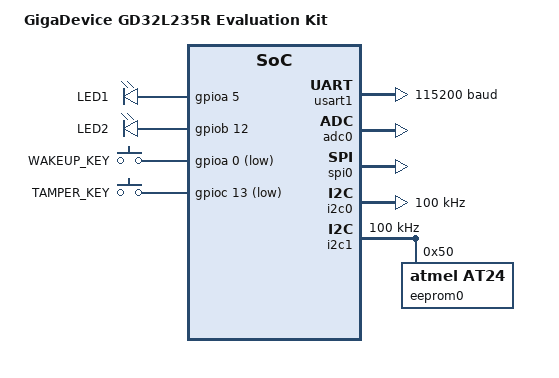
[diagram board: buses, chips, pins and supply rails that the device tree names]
/*
 * SPDX-FileCopyrightText: Copyright The Zephyr Project Contributors
 * SPDX-License-Identifier: Apache-2.0
 */

/dts-v1/;

#include <gd/gd32l23x/gd32l235rb.dtsi>
#include "gd32l235r_eval-pinctrl.dtsi"
#include <zephyr/dt-bindings/input/input-event-codes.h>

/ {
	model = "GigaDevice GD32L235R Evaluation Kit";
	compatible = "gd,gd32l235r-eval";

	chosen {
		zephyr,sram = &sram;
		zephyr,flash = &flash0;
		zephyr,console = &usart1;
		zephyr,shell-uart = &usart1;
		zephyr,flash-controller = &fmc;
	};

	leds {
		compatible = "gpio-leds";

		led1: led1 {
			gpios = <&gpioa 5 GPIO_ACTIVE_HIGH>;
			label = "LED1";
		};

		led2: led2 {
			gpios = <&gpiob 12 GPIO_ACTIVE_HIGH>;
			label = "LED2";
		};
	};

	gpio_keys {
		compatible = "gpio-keys";

		wakeup_key: wakeup_key {
			label = "WAKEUP_KEY";
			gpios = <&gpioa 0 GPIO_ACTIVE_LOW>;
			zephyr,code = <INPUT_KEY_WAKEUP>;
		};

		tamper_key: tamper_key {
			label = "TAMPER_KEY";
			gpios = <&gpioc 13 GPIO_ACTIVE_LOW>;
			zephyr,code = <INPUT_KEY_0>;
		};
	};

	aliases {
		led0 = &led1;
		led1 = &led2;
		eeprom-0 = &eeprom0;
	};
};

&gpioa {
	status = "okay";
};

&gpiob {
	status = "okay";
};

&gpioc {
	status = "okay";
};

&gpiod {
	status = "okay";
};

&gpiof {
	status = "okay";
};

&usart1 {
	status = "okay";
	current-speed = <115200>;
	pinctrl-0 = <&usart1_default>;
	pinctrl-names = "default";
};

&adc0 {
	status = "okay";
	pinctrl-0 = <&adc0_default>;
	pinctrl-names = "default";
};

&spi0 {
	status = "okay";
	pinctrl-0 = <&spi0_default>;
	pinctrl-names = "default";
	cs-gpios = <&gpioa 4 GPIO_ACTIVE_LOW>;
};

&i2c0 {
	status = "okay";
	pinctrl-0 = <&i2c0_default>;
	pinctrl-names = "default";
	clock-frequency = <I2C_BITRATE_STANDARD>;
};

&i2c1 {
	status = "okay";
	pinctrl-0 = <&i2c1_default>;
	pinctrl-names = "default";
	clock-frequency = <I2C_BITRATE_STANDARD>;

	eeprom0: eeprom@50 {
		compatible = "atmel,at24";
		reg = <0x50>;
		size = <256>;
		pagesize = <8>;
		address-width = <8>;
		timeout = <20>;
		status = "okay";
	};
};
